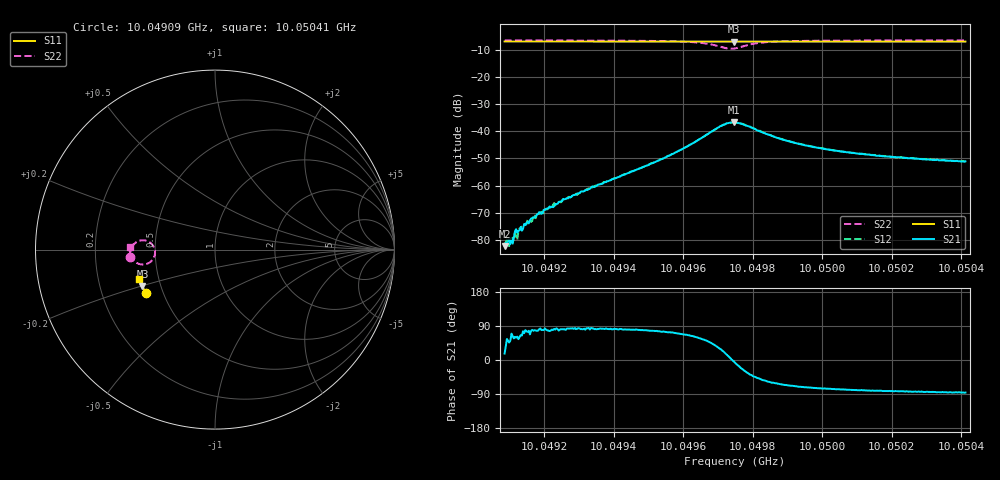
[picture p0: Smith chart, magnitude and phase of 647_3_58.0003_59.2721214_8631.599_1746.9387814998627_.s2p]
#  HZ  S  RI  R  50.00
! Rohde & Schwarz Vector Network Analyzer
! Rohde-Schwarz,ZNB20-2Port,1311601062101988,3.16
! Created: UTC 3/21/2024, 1:19:18 AM
! freq[Hz]  re:S11  im:S11  re:S21  im:S21  re:S12  im:S12  re:S22  im:S22
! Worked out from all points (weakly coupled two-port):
!   401 points, 10.04909 GHz to 10.05041 GHz, reference 50 ohm
!   highest |S21| = -36.73 dB at 10.04975 GHz (marker M1); lowest = -82.3 dB at 10.04909 GHz (marker M2)
!   lowest |S11| = -6.9 dB at 10.04975 GHz (marker M3), VSWR 2.65, Z = 19.8 - j10.1 ohm
!   |S11| at or under -10 dB: nowhere
!   |S22| runs from -9.5 to -6.5 dB; largest |S21 - S12| = 0.0012
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1.0049087e10  -0.3857 -0.2412  7.34e-05 2.24e-05  5.97e-05 5.25e-05  -0.4735 -0.0428
1.0049107e10  -0.3863 -0.2402  3.78e-05 0.000102  6.01e-05 6.8e-05  -0.4736 -0.0411
1.0049116e10  -0.3866 -0.2395  6.9e-05 0.000125  4.61e-05 0.000127  -0.4735 -0.0404
1.0049126e10  -0.3868 -0.239  8.33e-05 0.000119  2.52e-05 0.000146  -0.4736 -0.0394
1.0049133e10  -0.3871 -0.2386  7.01e-05 0.000157  4.06e-05 0.000147  -0.4735 -0.0389
1.0049176e10  -0.3885 -0.2362  5.55e-05 0.000261  5.65e-05 0.000242  -0.4737 -0.0349
1.0049206e10  -0.3895 -0.2343  6.42e-05 0.000369  1.73e-05 0.000364  -0.4736 -0.0322
1.0049259e10  -0.3913 -0.2314  8.29e-05 0.000551  3.41e-05 0.000572  -0.4734 -0.0268
1.0049309e10  -0.3928 -0.2284  0.000113 0.000775  8.37e-05 0.000768  -0.473 -0.0215
1.0049531e10  -0.3995 -0.2152  0.000712 0.00283  0.000537 0.00287  -0.4642 0.012
1.0049614e10  -0.4019 -0.2101  0.0022 0.00487  0.00188 0.00498  -0.4469 0.035
1.0049686e10  -0.4035 -0.2054  0.00767 0.00688  0.00719 0.00736  -0.3915 0.0514
1.004972e10  -0.4039 -0.2036  0.0126 0.00446  0.0122 0.00531  -0.3464 0.0233
1.0049746e10  -0.4041 -0.2026  0.0145 -0.00104  0.0146 0.000178  -0.3357 -0.0299
1.0049749e10  -0.4043 -0.2025  0.0144 -0.00172  0.0146 -0.00063  -0.3375 -0.0367
1.0049783e10  -0.4055 -0.201  0.0108 -0.0068  0.0113 -0.00594  -0.3788 -0.0792
1.0049832e10  -0.4073 -0.1983  0.00556 -0.0075  0.00603 -0.00721  -0.4317 -0.0766
1.0049889e10  -0.4091 -0.195  0.00293 -0.00635  0.00334 -0.00621  -0.456 -0.0575
1.0049971e10  -0.4115 -0.1898  0.00149 -0.00497  0.0018 -0.00493  -0.468 -0.0366
1.0050081e10  -0.4144 -0.1832  0.000788 -0.00398  0.00104 -0.00395  -0.4731 -0.0186
1.0050193e10  -0.4171 -0.1764  0.000498 -0.00338  0.000686 -0.00339  -0.4749 -0.00494
1.0050412e10  -0.4222 -0.1627  0.000196 -0.00279  0.000382 -0.00275  -0.4753 0.0156
